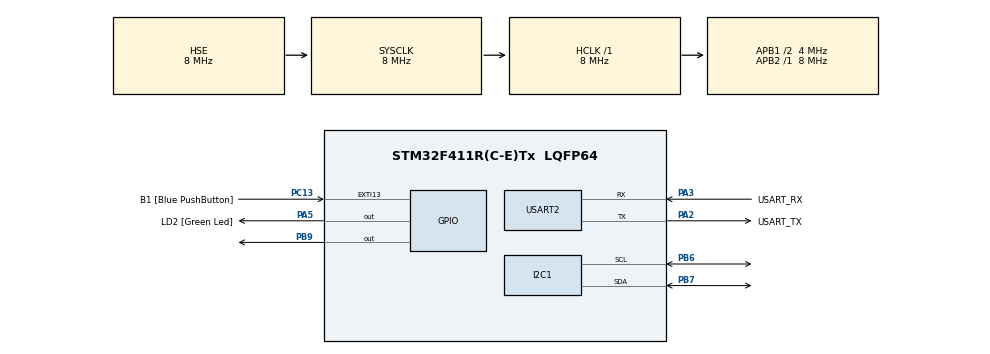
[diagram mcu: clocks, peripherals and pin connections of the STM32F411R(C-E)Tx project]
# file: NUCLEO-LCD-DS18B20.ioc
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I2C1.I2C_Mode=I2C_Fast
Mcu.Family=STM32F4
Mcu.Name=STM32F411R(C-E)Tx
Mcu.Package=LQFP64
NVIC.PriorityGroup=NVIC_PRIORITYGROUP_0
PA13.GPIO_Label=TMS
PA13.Mode=Serial_Wire
PA13.Signal=SYS_JTMS-SWDIO
PA14.GPIO_Label=TCK
PA14.Mode=Serial_Wire
PA14.Signal=SYS_JTCK-SWCLK
PA2.GPIO_Label=USART_TX
PA2.Mode=Asynchronous
PA2.Signal=USART2_TX
PA3.GPIO_Label=USART_RX
PA3.Mode=Asynchronous
PA3.Signal=USART2_RX
PA5.GPIO_Label=LD2 [Green Led]
PA5.Signal=GPIO_Output
PB3.GPIO_Label=SWO
PB3.Signal=SYS_JTDO-SWO
PB6.Mode=I2C
PB6.Signal=I2C1_SCL
PB7.Mode=I2C
PB7.Signal=I2C1_SDA
PB9.GPIO_ModeDefaultOutputPP=GPIO_MODE_OUTPUT_OD
PB9.GPIO_PuPd=GPIO_NOPULL
PB9.GPIO_Speed=GPIO_SPEED_FREQ_MEDIUM
PB9.Signal=GPIO_Output
PC13-ANTI_TAMP.GPIO_Label=B1 [Blue PushButton]
PC13-ANTI_TAMP.GPIO_ModeDefaultEXTI=GPIO_MODE_IT_FALLING
PC13-ANTI_TAMP.Signal=GPXTI13
PC14-OSC32_IN.Signal=RCC_OSC32_IN
PC15-OSC32_OUT.Signal=RCC_OSC32_OUT
PH0\ -\ OSC_IN.Mode=HSE-External-Oscillator
PH0\ -\ OSC_IN.Signal=RCC_OSC_IN
PH1\ -\ OSC_OUT.Mode=HSE-External-Oscillator
PH1\ -\ OSC_OUT.Signal=RCC_OSC_OUT
ProjectManager.HeapSize=0x200
ProjectManager.StackSize=0x400
ProjectManager.TargetToolchain=STM32CubeIDE
RCC.48MHZClocksFreq_Value=84000000
RCC.AHBFreq_Value=8000000
RCC.APB1CLKDivider=RCC_HCLK_DIV2
RCC.APB1Freq_Value=4000000
RCC.APB1TimFreq_Value=8000000
RCC.APB2Freq_Value=8000000
RCC.APB2TimFreq_Value=8000000
RCC.CortexFreq_Value=8000000
RCC.FLatency-AdvancedSettings=FLASH_LATENCY_0
RCC.HCLKFreq_Value=8000000
RCC.HSE_VALUE=8000000
RCC.HSI_VALUE=16000000
RCC.LSE_VALUE=32768
RCC.PLLN=336
RCC.PLLP=RCC_PLLP_DIV4
RCC.SYSCLKFreq_VALUE=8000000
RCC.SYSCLKSource=RCC_SYSCLKSOURCE_HSE
RCC.VCOOutputFreq_Value=336000000
TIM3.Period=1000
TIM3.Prescaler=7
TIM3.TIM_MasterOutputTrigger=TIM_TRGO_UPDATE
USART2.VirtualMode=VM_ASYNC
VP_TIM3_VS_ClockSourceINT.Mode=Internal
board=NUCLEO-F411RE

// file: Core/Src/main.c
/* USER CODE BEGIN Header */
/**
  ******************************************************************************
  * @file           : main.c
  * @brief          : Main program body
  ******************************************************************************
  * @attention
  *
  * Copyright (c) 2025 STMicroelectronics.
  * All rights reserved.
  *
  * This software is licensed under terms that can be found in the LICENSE file
  * in the root directory of this software component.
  * If no LICENSE file comes with this software, it is provided AS-IS.
  *
  ******************************************************************************
  */
/* USER CODE END Header */
#include "main.h"
#include <stdbool.h>
#include <stdio.h>
#include "lcd1602_i2c_lib.h"

extern char lcd1602_tx_buffer[80];
/* USER CODE BEGIN Includes */
uint8_t ds_buff[9];
/* USER CODE END Includes */

I2C_HandleTypeDef hi2c1;

TIM_HandleTypeDef htim3;

UART_HandleTypeDef huart2;

/* USER CODE BEGIN PV */
#define PORT  GPIOB   //Specify the port to which the sensors are connected
#define PIN 9
#define TIMER TIM3    //set the timer used to generate delays
#define SKIP_ROM_ADR 0xCC // skip addressing
#define CONVERT_TEMP 0x44 // starts the temperature conversion
#define READ_DATA_COMAND 0xBE //memory read command

 uint16_t	temp;
 char znak =  '-' ;
/* USER CODE END PV */

void SystemClock_Config(void);
static void MX_GPIO_Init(void);
static void MX_USART2_UART_Init(void);
static void MX_TIM3_Init(void);
static void MX_I2C1_Init(void);

/* USER CODE BEGIN 0 */
//*********************************************************************************************
//function  reset pulse                                                                   //
//argument  port mask                                                                      //
//return    0 - device detected, 1 - undetected, 2 - short circuit on the line                   //
//*********************************************************************************************
uint8_t ds_reset_pulse(uint16_t PinMask)
{
   uint16_t result;

   if((PORT->IDR & PinMask)==0)  return 2;         //check the line for short circuits
   PORT->ODR &= ~PinMask;                          //pull the tyre to the ground
   TIMER->CNT=0;
   while(TIMER->CNT<480){};                        //wait 480 microseconds
   PORT->ODR |=  PinMask;                          //release the tyre
   while(TIMER->CNT<550){};                        //wait 70 microseconds
   result =  PORT->IDR & PinMask;                 //read the tyre
   while(TIMER->CNT<960){};                        //wait for initialisation to complete
   if(result) return 1;                            //sensor not detected
   return 0;                                       //sensor detected
}

//*********************************************************************************************
//function  bit transfer                                                                    //
//argument  value of the bit to be transmitted, port mask                                          //
//return    none                                                                             //
//*********************************************************************************************
void ds_write_bit(uint8_t bit,uint16_t PinMask)
{
   TIMER->CNT=0;
   PORT->ODR &= ~PinMask;                          //pull the tyre to the ground
   while(TIMER->CNT<2){};                          //wait 1 microsecond
   if(bit) PORT->ODR |=  PinMask;                  //if 1 is transmitted, the bus is released
   while(TIMER->CNT<60){};                         //60 microseconds delay
   PORT->ODR |=  PinMask;                          //release the tyre
}

//*********************************************************************************************
//function  bit reading                                                                      //
//argument  port mask                                                                      //
//return    read bit                                                                  //
//*********************************************************************************************
uint16_t ds_read_bit(uint16_t PinMask)
{
   uint16_t result;

  TIMER->CNT=0;
   PORT->ODR &= ~PinMask;                          //pull the tyre to the ground
   while(TIMER->CNT<2){};
   PORT->ODR |=  PinMask;                          //release the tyre
   while(TIMER->CNT<15){};                         //delay of 15 microseconds
   result     =  PORT->IDR & PinMask;              //read the bus
   while(TIMER->CNT<60){};                         //remaining time
   return result;                                  //return the result
}
//*********************************************************************************************
//function  byte entry                                                                     //
//argument  transmit byte, port mask                                                    //
//return    none                                                                             //
//*********************************************************************************************
void ds_write_byte(uint8_t byte, uint16_t PinMask)
{
   uint8_t i;
   for(i=0;i<8;i++) ds_write_bit(byte&(1<<i), PinMask);
}
//*********************************************************************************************
//function  byte reading                                                                     //
//argument  port mask                                                                      //
//return    byte read                                                                 //
//*********************************************************************************************
uint8_t ds_read_byte(uint16_t PinMask)
{
   uint8_t i,result = 0;
   for(i=0;i<8;i++)
   if(ds_read_bit(PinMask)) result |= 1<<i;
   return result;
}
/* USER CODE END 0 */

int main(void)
{

  /* MCU Configuration--------------------------------------------------------*/

  /* Reset of all peripherals, Initializes the Flash interface and the Systick. */
  HAL_Init();

  /* Configure the system clock */
  SystemClock_Config();

  /* Initialize all configured peripherals */
  MX_GPIO_Init();
  MX_USART2_UART_Init();
  MX_TIM3_Init();
  MX_I2C1_Init();
  /* USER CODE BEGIN 2 */
  HAL_TIM_Base_Start(&htim3);
  HAL_Delay(100);
  lcd1602_Init();
  /* USER CODE END 2 */

  /* Infinite loop */
  /* USER CODE BEGIN WHILE */
  while (1)
  {

	  ds_reset_pulse(1<<PIN);          //send a reset pulse                                       /
	  ds_write_byte(SKIP_ROM_ADR,1<<PIN);//allow access to the sensor without using the address
	  ds_write_byte(CONVERT_TEMP,1<<PIN);      //run the conversion
	  HAL_Delay (1000);               //allow time for measurement
	  ds_reset_pulse(1<<PIN);          //send a reset pulse
	  ds_write_byte(SKIP_ROM_ADR,1<<PIN);//allow access to the sensor without using the address
	  ds_write_byte(READ_DATA_COMAND,1<<PIN);      //command that causes the sensor to allocate 9 bytes of its memory
	  for(int i=0; i<9; i++ )           //read 9 bytes into the array
	  ds_buff[i] = ds_read_byte(1<<PIN);

	  		temp = ds_buff[1];
	  		temp = temp<<8;
	  		temp |= ds_buff[0];

	  		temp =temp>>4;//discard the fractional part

            lcd1602_SetCursor(0, 1);
            sprintf(lcd1602_tx_buffer, "T = %d     ", temp);
            lcd1602_Print_text(lcd1602_tx_buffer);
	  		if(temp > 1000)//if the temperature <0
	  	{
	  		temp = 4096 - temp;
	  	  znak =  '-';
	  	}else znak =  '+';

    /* USER CODE END WHILE */

  }
}

void SystemClock_Config(void)
{
  RCC_OscInitTypeDef RCC_OscInitStruct = {0};
  RCC_ClkInitTypeDef RCC_ClkInitStruct = {0};

  /** Configure the main internal regulator output voltage
  */
  __HAL_RCC_PWR_CLK_ENABLE();
  __HAL_PWR_VOLTAGESCALING_CONFIG(PWR_REGULATOR_VOLTAGE_SCALE1);

  /** Initializes the RCC Oscillators according to the specified parameters
  * in the RCC_OscInitTypeDef structure.
  */
  RCC_OscInitStruct.OscillatorType = RCC_OSCILLATORTYPE_HSE;
  RCC_OscInitStruct.HSEState = RCC_HSE_ON;
  RCC_OscInitStruct.PLL.PLLState = RCC_PLL_NONE;
  if (HAL_RCC_OscConfig(&RCC_OscInitStruct) != HAL_OK)
  {
    Error_Handler();
  }

  /** Initializes the CPU, AHB and APB buses clocks
  */
  RCC_ClkInitStruct.ClockType = RCC_CLOCKTYPE_HCLK|RCC_CLOCKTYPE_SYSCLK
                              |RCC_CLOCKTYPE_PCLK1|RCC_CLOCKTYPE_PCLK2;
  RCC_ClkInitStruct.SYSCLKSource = RCC_SYSCLKSOURCE_HSE;
  RCC_ClkInitStruct.AHBCLKDivider = RCC_SYSCLK_DIV1;
  RCC_ClkInitStruct.APB1CLKDivider = RCC_HCLK_DIV2;
  RCC_ClkInitStruct.APB2CLKDivider = RCC_HCLK_DIV1;

  if (HAL_RCC_ClockConfig(&RCC_ClkInitStruct, FLASH_LATENCY_0) != HAL_OK)
  {
    Error_Handler();
  }
}

static void MX_I2C1_Init(void)
{

  hi2c1.Instance = I2C1;
  hi2c1.Init.ClockSpeed = 400000;
  hi2c1.Init.DutyCycle = I2C_DUTYCYCLE_2;
  hi2c1.Init.OwnAddress1 = 0;
  hi2c1.Init.AddressingMode = I2C_ADDRESSINGMODE_7BIT;
  hi2c1.Init.DualAddressMode = I2C_DUALADDRESS_DISABLE;
  hi2c1.Init.OwnAddress2 = 0;
  hi2c1.Init.GeneralCallMode = I2C_GENERALCALL_DISABLE;
  hi2c1.Init.NoStretchMode = I2C_NOSTRETCH_DISABLE;
  if (HAL_I2C_Init(&hi2c1) != HAL_OK)
  {
    Error_Handler();
  }

}

static void MX_TIM3_Init(void)
{

  TIM_ClockConfigTypeDef sClockSourceConfig = {0};
  TIM_MasterConfigTypeDef sMasterConfig = {0};

  htim3.Instance = TIM3;
  htim3.Init.Prescaler = 7;
  htim3.Init.CounterMode = TIM_COUNTERMODE_UP;
  htim3.Init.Period = 1000;
  htim3.Init.ClockDivision = TIM_CLOCKDIVISION_DIV1;
  htim3.Init.AutoReloadPreload = TIM_AUTORELOAD_PRELOAD_DISABLE;
  if (HAL_TIM_Base_Init(&htim3) != HAL_OK)
  {
    Error_Handler();
  }
  sClockSourceConfig.ClockSource = TIM_CLOCKSOURCE_INTERNAL;
  if (HAL_TIM_ConfigClockSource(&htim3, &sClockSourceConfig) != HAL_OK)
  {
    Error_Handler();
  }
  sMasterConfig.MasterOutputTrigger = TIM_TRGO_UPDATE;
  sMasterConfig.MasterSlaveMode = TIM_MASTERSLAVEMODE_DISABLE;
  if (HAL_TIMEx_MasterConfigSynchronization(&htim3, &sMasterConfig) != HAL_OK)
  {
    Error_Handler();
  }

}

static void MX_USART2_UART_Init(void)
{

  huart2.Instance = USART2;
  huart2.Init.BaudRate = 115200;
  huart2.Init.WordLength = UART_WORDLENGTH_8B;
  huart2.Init.StopBits = UART_STOPBITS_1;
  huart2.Init.Parity = UART_PARITY_NONE;
  huart2.Init.Mode = UART_MODE_TX_RX;
  huart2.Init.HwFlowCtl = UART_HWCONTROL_NONE;
  huart2.Init.OverSampling = UART_OVERSAMPLING_16;
  if (HAL_UART_Init(&huart2) != HAL_OK)
  {
    Error_Handler();
  }

}

static void MX_GPIO_Init(void)
{
  GPIO_InitTypeDef GPIO_InitStruct = {0};

  /* GPIO Ports Clock Enable */
  __HAL_RCC_GPIOC_CLK_ENABLE();
  __HAL_RCC_GPIOH_CLK_ENABLE();
  __HAL_RCC_GPIOA_CLK_ENABLE();
  __HAL_RCC_GPIOB_CLK_ENABLE();

  /*Configure GPIO pin Output Level */
  HAL_GPIO_WritePin(LD2_GPIO_Port, LD2_Pin, GPIO_PIN_RESET);

  /*Configure GPIO pin Output Level */
  HAL_GPIO_WritePin(GPIOB, GPIO_PIN_9, GPIO_PIN_RESET);

  /*Configure GPIO pin : B1_Pin */
  GPIO_InitStruct.Pin = B1_Pin;
  GPIO_InitStruct.Mode = GPIO_MODE_IT_FALLING;
  GPIO_InitStruct.Pull = GPIO_NOPULL;
  HAL_GPIO_Init(B1_GPIO_Port, &GPIO_InitStruct);

  /*Configure GPIO pin : LD2_Pin */
  GPIO_InitStruct.Pin = LD2_Pin;
  GPIO_InitStruct.Mode = GPIO_MODE_OUTPUT_PP;
  GPIO_InitStruct.Pull = GPIO_NOPULL;
  GPIO_InitStruct.Speed = GPIO_SPEED_FREQ_LOW;
  HAL_GPIO_Init(LD2_GPIO_Port, &GPIO_InitStruct);

  /*Configure GPIO pin : PB9 */
  GPIO_InitStruct.Pin = GPIO_PIN_9;
  GPIO_InitStruct.Mode = GPIO_MODE_OUTPUT_OD;
  GPIO_InitStruct.Pull = GPIO_NOPULL;
  GPIO_InitStruct.Speed = GPIO_SPEED_FREQ_MEDIUM;
  HAL_GPIO_Init(GPIOB, &GPIO_InitStruct);

}

void Error_Handler(void)
{
  __disable_irq();
  while (1)
  {
  }
}
